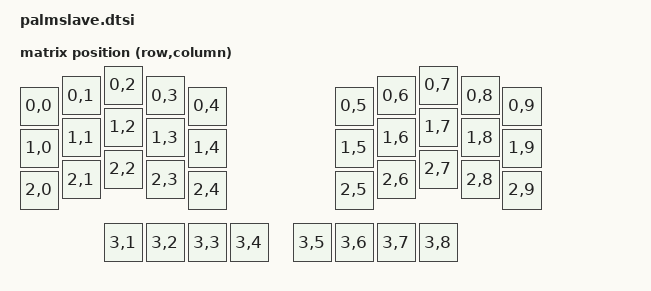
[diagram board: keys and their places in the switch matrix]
/*
 * Palmslave (takashicompany) - ZMK shield
 * 元定義: qmk_firmware/keyboards/takashicompany/palmslave/keyboard.json
 *   diode_direction: COL2ROW
 *   左手: cols D4,C6,D7,E6,B4 / rows F4,F5,F6,F7
 *   右手: cols B4,E6,D7,C6,D4 / rows F4,F5,F6,F7 （基板反転のため列順が逆）
 */

#include <dt-bindings/zmk/matrix_transform.h>
#include <physical_layouts.dtsi>

/ {
	chosen {
		zmk,kscan = &kscan0;
		zmk,physical-layout = &physical_layout0;
	};

	kscan0: kscan {
		compatible = "zmk,kscan-gpio-matrix";
		diode-direction = "col2row";
		wakeup-source;
	};

	/* 4行 x 10列（左5列 + 右5列）。右手は overlay 側で col-offset = 5 */
	default_transform: keymap_transform_0 {
		compatible = "zmk,matrix-transform";
		columns = <10>;
		rows = <4>;
		map = <
	RC(0,0) RC(0,1) RC(0,2) RC(0,3) RC(0,4)   RC(0,5) RC(0,6) RC(0,7) RC(0,8) RC(0,9)
	RC(1,0) RC(1,1) RC(1,2) RC(1,3) RC(1,4)   RC(1,5) RC(1,6) RC(1,7) RC(1,8) RC(1,9)
	RC(2,0) RC(2,1) RC(2,2) RC(2,3) RC(2,4)   RC(2,5) RC(2,6) RC(2,7) RC(2,8) RC(2,9)
	        RC(3,1) RC(3,2) RC(3,3) RC(3,4)   RC(3,5) RC(3,6) RC(3,7) RC(3,8)
		>;
	};

	/* 物理配置（単位: 1/100 キー。keyboard.json の x,y を100倍、w/h=84）
	 * keys の並びは上の map と同じ順 */
	physical_layout0: physical_layout_0 {
		compatible = "zmk,physical-layout";
		display-name = "Palmslave";
		transform = <&default_transform>;
		keys
			// row 0
			= <&key_physical_attrs 84 84   0  42 0 0 0>
			, <&key_physical_attrs 84 84  84  21 0 0 0>
			, <&key_physical_attrs 84 84 168   0 0 0 0>
			, <&key_physical_attrs 84 84 252  21 0 0 0>
			, <&key_physical_attrs 84 84 336  42 0 0 0>
			, <&key_physical_attrs 84 84 630  42 0 0 0>
			, <&key_physical_attrs 84 84 714  21 0 0 0>
			, <&key_physical_attrs 84 84 798   0 0 0 0>
			, <&key_physical_attrs 84 84 882  21 0 0 0>
			, <&key_physical_attrs 84 84 966  42 0 0 0>
			// row 1
			, <&key_physical_attrs 84 84   0 126 0 0 0>
			, <&key_physical_attrs 84 84  84 105 0 0 0>
			, <&key_physical_attrs 84 84 168  84 0 0 0>
			, <&key_physical_attrs 84 84 252 105 0 0 0>
			, <&key_physical_attrs 84 84 336 126 0 0 0>
			, <&key_physical_attrs 84 84 630 126 0 0 0>
			, <&key_physical_attrs 84 84 714 105 0 0 0>
			, <&key_physical_attrs 84 84 798  84 0 0 0>
			, <&key_physical_attrs 84 84 882 105 0 0 0>
			, <&key_physical_attrs 84 84 966 126 0 0 0>
			// row 2
			, <&key_physical_attrs 84 84   0 210 0 0 0>
			, <&key_physical_attrs 84 84  84 189 0 0 0>
			, <&key_physical_attrs 84 84 168 168 0 0 0>
			, <&key_physical_attrs 84 84 252 189 0 0 0>
			, <&key_physical_attrs 84 84 336 210 0 0 0>
			, <&key_physical_attrs 84 84 630 210 0 0 0>
			, <&key_physical_attrs 84 84 714 189 0 0 0>
			, <&key_physical_attrs 84 84 798 168 0 0 0>
			, <&key_physical_attrs 84 84 882 189 0 0 0>
			, <&key_physical_attrs 84 84 966 210 0 0 0>
			// row 3 (thumb)
			, <&key_physical_attrs 84 84 168 315 0 0 0>
			, <&key_physical_attrs 84 84 252 315 0 0 0>
			, <&key_physical_attrs 84 84 336 315 0 0 0>
			, <&key_physical_attrs 84 84 420 315 0 0 0>
			, <&key_physical_attrs 84 84 546 315 0 0 0>
			, <&key_physical_attrs 84 84 630 315 0 0 0>
			, <&key_physical_attrs 84 84 714 315 0 0 0>
			, <&key_physical_attrs 84 84 798 315 0 0 0>
			;
	};
};
